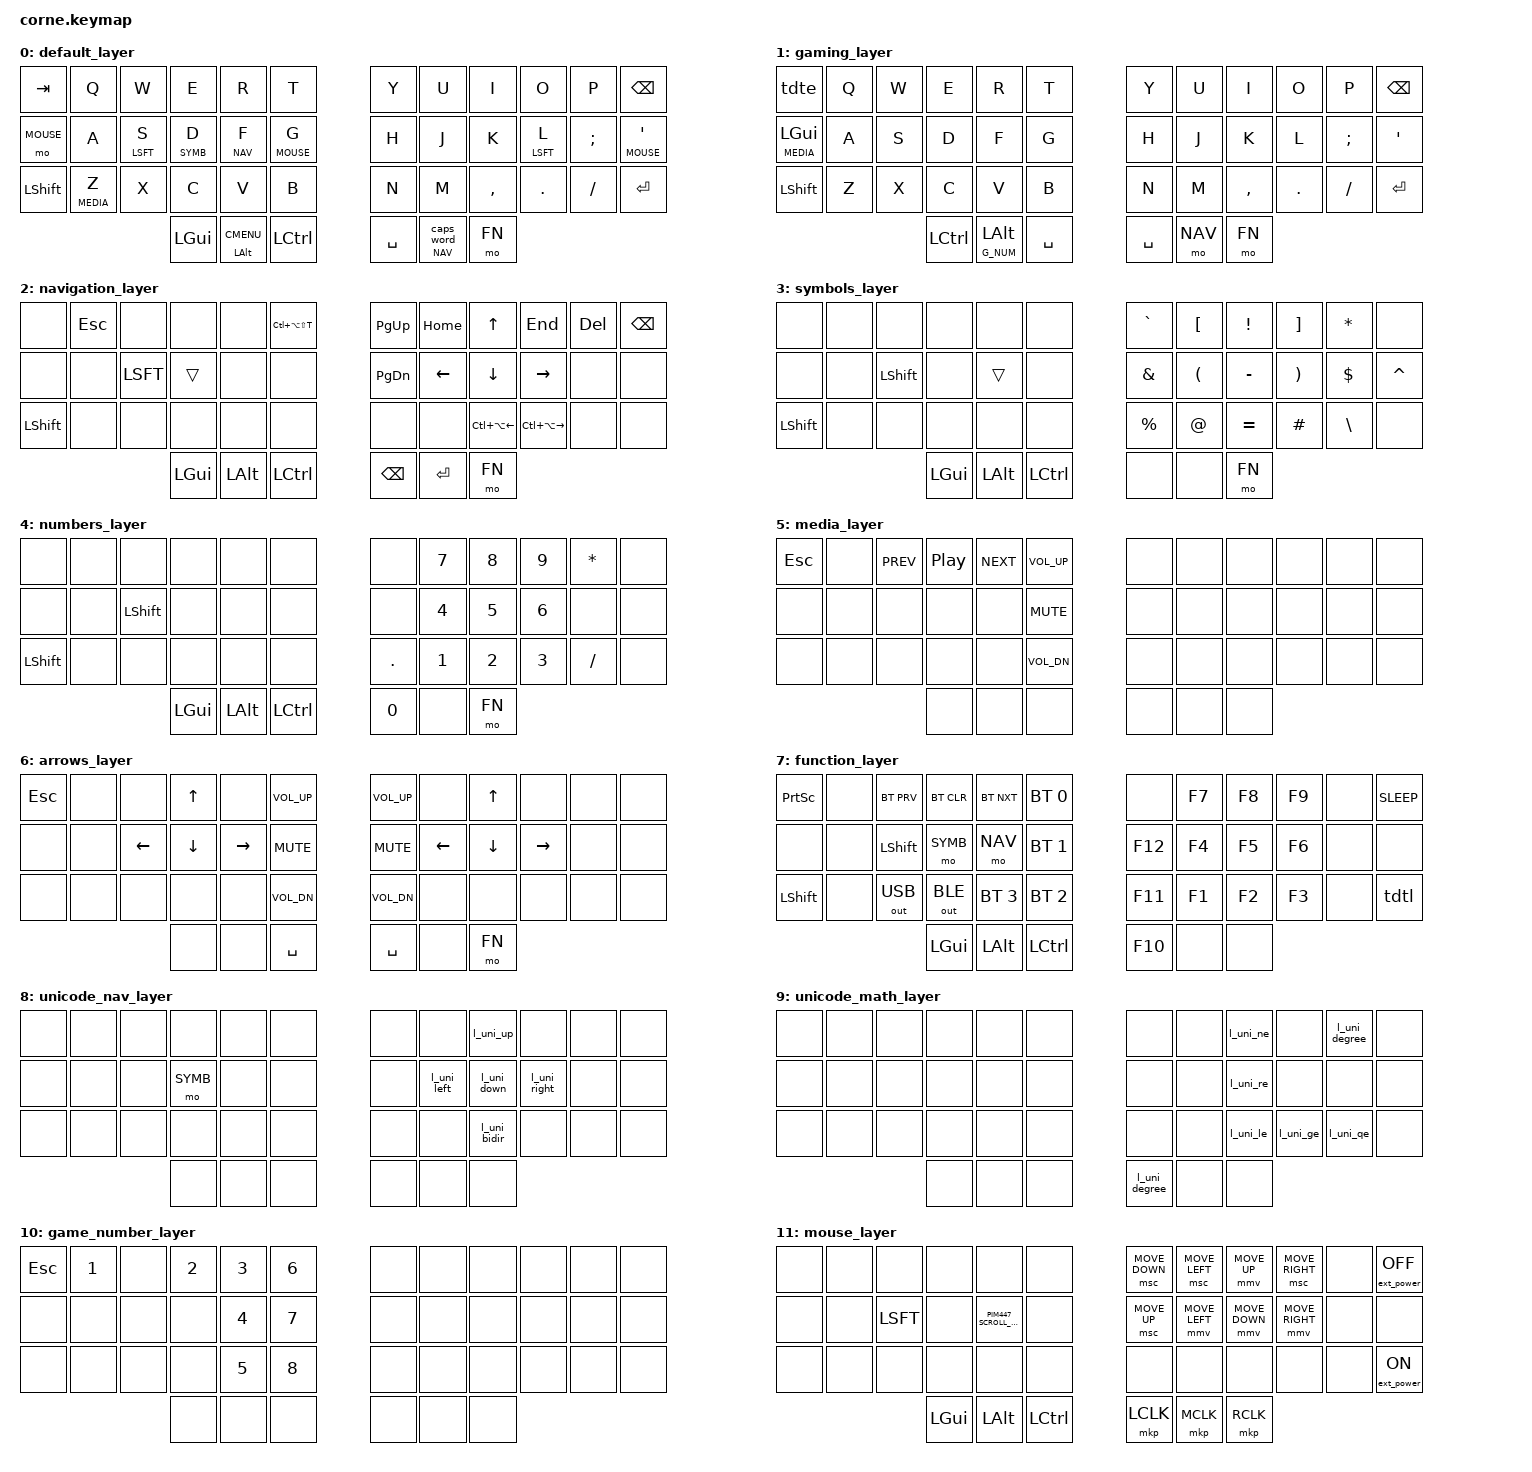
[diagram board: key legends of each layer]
/*
 * Copyright (c) 2020 The ZMK Contributors
 *
 * SPDX-License-Identifier: MIT
 */

#include <behaviors.dtsi>
#include <dt-bindings/zmk/bt.h>
#include <dt-bindings/zmk/ext_power.h>
#include <dt-bindings/zmk/keys.h>
#include <dt-bindings/zmk/rgb.h>
#include <dt-bindings/zmk/mouse.h>
#include <dt-bindings/zmk/outputs.h>

// TODO: try to move these to a zmk-config corne.dtsi so that I can use these in layer definition for PIM447
#define DEFAULT 0
#define GAME 1
#define NAV 2
#define SYMB 3
#define NUM 4
#define MEDIA 5
#define ARROWS 6
#define FN 7
#define UNI_NAV 8 // navigation-like unicode characters (e.g., arrows)
#define UNI_MATH 9 // math related unicode characters (e.g., approximately equals)
#define G_NUM 10   // Numbers (1-5) accessible from the GAME layer
#define MOUSE 11

#ifdef CONFIG_ZMK_TRACKBALL_PIM447
    #define PIM447_SCROLL_MOVE pim447_scroll_move
#else
    #define PIM447_SCROLL_MOVE none
#endif

&caps_word {
    continue-list = <UNDERSCORE MINUS FSLH BSLH N0 N1 N2 N3 N4 N5 N6 N7 N8 N9>;
    timeout = <3>;
    break-on-mod; /* stop caps_word when pressing a modifier */
};

/ {
    conditional_layers {
        compatible = "zmk,conditional-layers";
        tri_layer_numbers {
                if-layers = <NAV SYMB>;
                then-layer = <NUM>;
        };
        tri_layer_unicode_nav {
                if-layers = <NAV FN>;
                then-layer = <UNI_NAV>;
        };
        tri_layer_unicode_math {
                if-layers = <NAV SYMB FN>;
                then-layer = <UNI_MATH>;
        };
    };

//  combos {
//      compatible = "zmk,combos";
//      combo_caps_word{
//          timeout-ms = <75>;
//          key-positions = <14 21>; // S + L (the two home row shift mods)
//          bindings = <&caps_word>;
//      };
//  };

    behaviors {
        mltp: media_layer_tap_preferred {
            compatible = "zmk,behavior-hold-tap";
            #binding-cells = <2>;
            flavor = "tap-preferred";
            tapping-term-ms = <300>;
            // quick-tap-ms enables repeated CTRL-Z by holding CTRL and double
            // tapping and holding Z.
            quick-tap-ms = <200>;
            bindings = <&mo>, <&kp>;
        };

        // tdsc: tap_dance_shift_caps_word {
        //     compatible = "zmk,behavior-tap-dance";
        //     #binding-cells = <0>;
        //     tapping-term-ms = <200>;
        //     bindings = <&kp LSHFT>, <&caps_word>;
        // };

        tdte: tap_dance_tab_esc {
            compatible = "zmk,behavior-tap-dance";
            #binding-cells = <0>;
            tapping-term-ms = <200>;
            bindings = <&kp TAB>, <&kp ESC>;
        };

        tdtl: tap_dance_to_layer {
            compatible = "zmk,behavior-tap-dance";
            #binding-cells = <0>;
            tapping-term-ms = <1000>;
            bindings = <&to DEFAULT>, <&to GAME>, <&to ARROWS>;
        };

        // From docs (https://zmk.dev/docs/behaviors/hold-tap#example-use-cases)
        lh_pht: left_hand_positional_hold_tap {
            compatible = "zmk,behavior-hold-tap";
            #binding-cells = <2>;
            flavor = "tap-preferred";
            tapping-term-ms = <150>;                        // <---[[produces tap if held longer than tapping-term-ms]]
            // Retro tap fixes this issue:
            // 1. Press one home row mod
            // 2. Press a second home row mod
            // 3. Wait a bit (slow typing)
            // 4. Release second home row mod
            // Expected: First home row mod hold behavior applied to second home row mod tap behavior
            // Actual: Nothing happens, because the second home row mod is held
            //     long enough for hold behavior to be invoked, but no other key
            //     (except for the first home row mod which was already pressed)
            //     gets tapped. Retro tap foces the second home row mod to emit
            //     tap behavior when it finally gets released.
            retro-tap;
            bindings = <&kp>, <&kp>;
            hold-trigger-key-positions = <
                6  7  8  9  10    // Y - P
                18 19 20 21 22 23 // H - '
                30 31 32 33 34 35 // N - Enter
            >;    // <---[[right-hand keys]]
        };

        // From docs (https://zmk.dev/docs/behaviors/hold-tap#example-use-cases)
        rh_pht: right_hand_positional_hold_tap {
            compatible = "zmk,behavior-hold-tap";
            #binding-cells = <2>;
            flavor = "tap-preferred";
            tapping-term-ms = <150>;                        // <---[[produces tap if held longer than tapping-term-ms]]
            // See retro-tap expalanation above
            retro-tap;
            bindings = <&kp>, <&kp>;
            hold-trigger-key-positions = <
                0  1  2  3  4  5  // Tab - T
                13 14 15 16 17    // A   - G
                25 26 27 28 29    // Z   - B
            >;    // <---[[left hand keys]]
        };

        // Usage example: &mt_cw LCTRL 0
        // mt_cw: mod_tap_caps_word {
        //     compatible = "zmk,behavior-hold-tap";
        //     #binding-cells = <2>;
        //     tapping-term-ms = <150>;
        //     flavor = "balanced";
        //     retro-tap;
        //     bindings = <&kp>, <&caps_word>;
        // };

        // Usage example: &lt_cw NAV 0
        lt_cw: layer_tap_caps_word {
            compatible = "zmk,behavior-hold-tap";
            #binding-cells = <2>;
            tapping-term-ms = <200>;
            flavor = "tap-preferred";
            bindings = <&mo>, <&caps_word>;
        };

        lt_mk: layer_tap_mo_kp {
            compatible = "zmk,behavior-hold-tap";
            #binding-cells = <2>;
            tapping-term-ms = <150>;
            flavor = "tap-preferred";
            quick-tap-ms = <200>;
            bindings = <&mo>, <&kp>;
        };
    };

    macros {
        l_uni_le: linux_unicode_less_than_or_equal {
            compatible = "zmk,behavior-macro";
            #binding-cells = <0>;
            wait-ms = <10>;
            tap-ms = <10>;
            bindings = <&kp LC(LS(U)) &kp N2 &kp N2 &kp N6 &kp N4 &kp RET>;
        };

        l_uni_ge: linux_unicode_greater_than_or_equal {
            compatible = "zmk,behavior-macro";
            #binding-cells = <0>;
            wait-ms = <10>;
            tap-ms = <10>;
            bindings = <&kp LC(LS(U)) &kp N2 &kp N2 &kp N6 &kp N5 &kp RET>;
        };

        l_uni_qe: linux_unicode_questioned_equals {
            compatible = "zmk,behavior-macro";
            #binding-cells = <0>;
            wait-ms = <10>;
            tap-ms = <10>;
            bindings = <&kp LC(LS(U)) &kp N2 &kp N2 &kp N5 &kp F &kp RET>;
        };

        l_uni_re: linux_unicode_roughly_equals {
            compatible = "zmk,behavior-macro";
            #binding-cells = <0>;
            wait-ms = <10>;
            tap-ms = <10>;
            bindings = <&kp LC(LS(U)) &kp N2 &kp N2 &kp N4 &kp N8 &kp RET>;
        };

        l_uni_ne: linux_unicode_not_equals {
            compatible = "zmk,behavior-macro";
            #binding-cells = <0>;
            wait-ms = <10>;
            tap-ms = <10>;
            bindings = <&kp LC(LS(U)) &kp N2 &kp N2 &kp N6 &kp N0 &kp RET>;
        };

        l_uni_degree: linux_unicode_degree {
            compatible = "zmk,behavior-macro";
            #binding-cells = <0>;
            wait-ms = <10>;
            tap-ms = <10>;
            bindings = <&kp LC(LS(U)) &kp N0 &kp N0 &kp B &kp N0 &kp RET>;
        };

        l_uni_left: linux_unicode_left {
            compatible = "zmk,behavior-macro";
            #binding-cells = <0>;
            wait-ms = <10>;
            tap-ms = <10>;
            bindings = <&kp LC(LS(U)) &kp N2 &kp N1 &kp N9 &kp N0 &kp RET>;
        };

        l_uni_up: linux_unicode_up {
            compatible = "zmk,behavior-macro";
            #binding-cells = <0>;
            wait-ms = <10>;
            tap-ms = <10>;
            bindings = <&kp LC(LS(U)) &kp N2 &kp N1 &kp N9 &kp N1 &kp RET>;
        };

        l_uni_right: linux_unicode_right {
            compatible = "zmk,behavior-macro";
            #binding-cells = <0>;
            wait-ms = <10>;
            tap-ms = <10>;
            bindings = <&kp LC(LS(U)) &kp N2 &kp N1 &kp N9 &kp N2 &kp RET>;
        };

        l_uni_down: linux_unicode_down {
            compatible = "zmk,behavior-macro";
            #binding-cells = <0>;
            wait-ms = <10>;
            tap-ms = <10>;
            bindings = <&kp LC(LS(U)) &kp N2 &kp N1 &kp N9 &kp N3 &kp RET>;
        };

        l_uni_bidir: linux_unicode_bidirectional {
            compatible = "zmk,behavior-macro";
            #binding-cells = <0>;
            wait-ms = <10>;
            tap-ms = <10>;
            bindings = <&kp LC(LS(U)) &kp N2 &kp N1 &kp N9 &kp N4 &kp RET>;
        };
    };

    keymap {
            compatible = "zmk,keymap";
            default_layer {
                    bindings = <
&kp TAB    &kp Q         &kp W          &kp E      &kp R            &kp T        /*|*/ &kp Y     &kp U        &kp I     &kp O          &kp P    &kp BSPC
&mo MOUSE  &kp A         &lh_pht LSFT S &lt SYMB D &lt NAV F        &lt MOUSE G  /*|*/ &kp H     &kp J        &kp K     &rh_pht LSFT L &kp SEMI &lt MOUSE SQT
&kp LSHFT  &mltp MEDIA Z &kp X          &kp C      &kp V            &kp B        /*|*/ &kp N     &kp M        &kp COMMA &kp DOT        &kp FSLH &kp RET
                                        &kp LGUI   &mt LALT K_CMENU &kp LCTRL    /*|*/ &kp SPACE &lt_cw NAV 0 &mo FN
                               >;
            };

            gaming_layer {
                    bindings = <
&tdte          &kp Q &kp W &kp E     &kp R             &kp T     /*|*/ &kp Y     &kp U   &kp I     &kp O   &kp P    &kp BSPC
&lt MEDIA LGUI &kp A &kp S &kp D     &kp F             &kp G     /*|*/ &kp H     &kp J   &kp K     &kp L   &kp SEMI &kp SQT
&kp LSHFT      &kp Z &kp X &kp C     &kp V             &kp B     /*|*/ &kp N     &kp M   &kp COMMA &kp DOT &kp FSLH &kp RET
                           &kp LCTRL &lt_mk G_NUM LALT &kp SPACE /*|*/ &kp SPACE &mo NAV &mo FN
                           >;
            };

            navigation_layer {
                    bindings = <
&none     &kp ESC &none    &none    &none    &kp LC(LA(LS(T))) /*|*/ &kp PG_UP &kp HOME &kp UP           &kp END           &kp DEL &kp BSPC
&none     &none   &kp LSFT &trans   &none    &none             /*|*/ &kp PG_DN &kp LEFT &kp DOWN         &kp RIGHT         &none   &none
&kp LSHFT &none   &none    &none    &none    &none             /*|*/ &none     &none    &kp LC(LA(LEFT)) &kp LC(LA(RIGHT)) &none   &none
                           &kp LGUI &kp LALT &kp LCTRL         /*|*/ &kp BSPC  &kp RET  &mo FN
                        >;
            };

            symbols_layer {
                    bindings = <
&none     &none &none     &none    &none    &none       /*|*/ &kp GRAVE &kp LBKT &kp EXCL  &kp RBKT &kp STAR &none
&none     &none &kp LSHFT &none    &trans   &none       /*|*/ &kp AMPS  &kp LPAR &kp MINUS &kp RPAR &kp DLLR &kp CARET
&kp LSHFT &none &none     &none    &none    &none       /*|*/ &kp PRCNT &kp AT   &kp EQUAL &kp HASH &kp BSLH &none
                          &kp LGUI &kp LALT &kp LCTRL   /*|*/ &none     &none    &mo FN
                                      >;
            };

            numbers_layer {
                    bindings = <
&none     &none &none     &none    &none    &none     /*|*/ &none   &kp N7 &kp N8 &kp N9 &kp STAR &none
&none     &none &kp LSHFT &none    &none    &none     /*|*/ &none   &kp N4 &kp N5 &kp N6 &none    &none
&kp LSHFT &none &none     &none    &none    &none     /*|*/ &kp DOT &kp N1 &kp N2 &kp N3 &kp FSLH &none
                          &kp LGUI &kp LALT &kp LCTRL /*|*/ &kp N0  &none  &mo FN
                      >;
            };

            media_layer {
                    bindings = <
&kp ESC &none &kp C_PREV &kp C_PP &kp C_NEXT &kp C_VOL_UP /*|*/ &none &none &none &none &none &none
&none   &none &none      &none    &none      &kp C_MUTE   /*|*/ &none &none &none &none &none &none
&none   &none &none      &none    &none      &kp C_VOL_DN /*|*/ &none &none &none &none &none &none
                         &none    &none      &none        /*|*/ &none &none &none
                         >;
            };

            arrows_layer {
                    bindings = <
&kp ESC &none &none    &kp UP   &none     &kp C_VOL_UP /*|*/ &kp C_VOL_UP &none    &kp UP   &none     &none &none
&none   &none &kp LEFT &kp DOWN &kp RIGHT &kp C_MUTE   /*|*/ &kp C_MUTE   &kp LEFT &kp DOWN &kp RIGHT &none &none
&none   &none &none    &none    &none     &kp C_VOL_DN /*|*/ &kp C_VOL_DN &none    &none    &none     &none &none
                       &none    &none     &kp SPACE    /*|*/ &kp SPACE    &none    &mo FN
                       >;
            };

            function_layer {
                    bindings = <
&kp PSCRN &none &bt BT_PRV   &bt BT_CLR   &bt BT_NXT   &bt BT_SEL 0 /*|*/ &none   &kp F7 &kp F8 &kp F9 &none &kp C_SLEEP
&none     &none &kp LSHFT    &mo SYMB     &mo NAV      &bt BT_SEL 1 /*|*/ &kp F12 &kp F4 &kp F5 &kp F6 &none &none
&kp LSHFT &none &out OUT_USB &out OUT_BLE &bt BT_SEL 3 &bt BT_SEL 2 /*|*/ &kp F11 &kp F1 &kp F2 &kp F3 &none &tdtl
                             &kp LGUI     &kp LALT     &kp LCTRL    /*|*/ &kp F10 &none  &none
                             >;
            };

            unicode_nav_layer {
                    bindings = <
&none &none &none &none    &none &none /*|*/ &none &none       &l_uni_up    &none        &none &none
&none &none &none &mo SYMB &none &none /*|*/ &none &l_uni_left &l_uni_down  &l_uni_right &none &none
&none &none &none &none    &none &none /*|*/ &none &none       &l_uni_bidir &none        &none &none
                  &none    &none &none /*|*/ &none &none       &none
                  >;
            };

            unicode_math_layer {
                    bindings = <
&none &none &none &none &none &none /*|*/ &none &none   &l_uni_ne &none     &l_uni_degree &none
&none &none &none &none &none &none /*|*/ &none &none   &l_uni_re &none     &none         &none
&none &none &none &none &none &none /*|*/ &none &none   &l_uni_le &l_uni_ge &l_uni_qe     &none
                  &none &none &none /*|*/ &l_uni_degree &none &none
                  >;
            };

            game_number_layer {
                    bindings = <
&kp ESC &kp N1 &none &kp N2 &kp N3 &kp N6 /*|*/ &none &none &none &none &none &none
&none   &none  &none &none  &kp N4 &kp N7 /*|*/ &none &none &none &none &none &none
&none   &none  &none &none  &kp N5 &kp N8 /*|*/ &none &none &none &none &none &none
                     &none  &none  &none  /*|*/ &none &none &none
                     >;
            };

            mouse_layer {
                    bindings = <
&none &none &none    &none   &none               &none     /*|*/ &msc MOVE_DOWN &msc MOVE_LEFT &mmv MOVE_UP   &msc MOVE_RIGHT &none &ext_power EP_OFF
&none &none &kp LSFT &none   &PIM447_SCROLL_MOVE &none     /*|*/ &msc MOVE_UP   &mmv MOVE_LEFT &mmv MOVE_DOWN &mmv MOVE_RIGHT &none &none
&none &none &none    &none   &none               &none     /*|*/ &none          &none          &none          &none           &none &ext_power EP_ON
                     &kp LGUI &kp LALT           &kp LCTRL /*|*/ &mkp LCLK      &mkp MCLK      &mkp RCLK
                     >;
            };
    };
};
